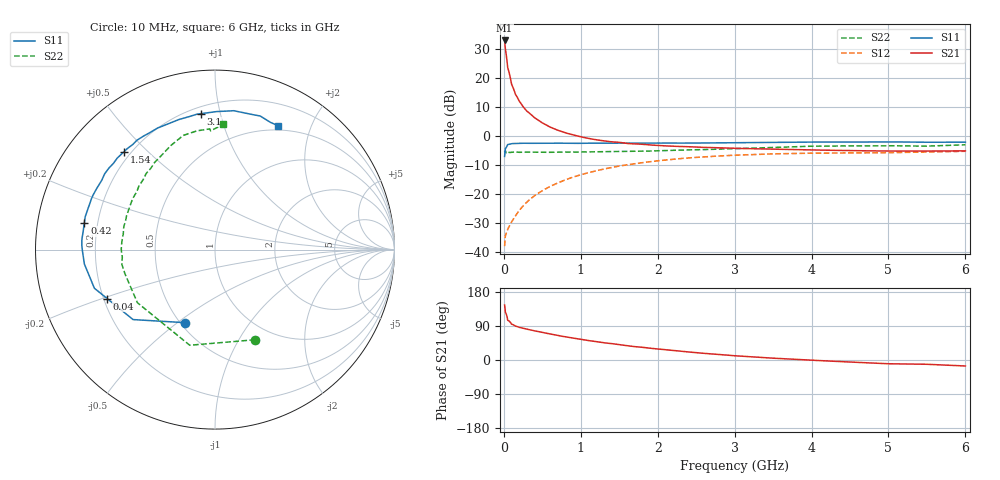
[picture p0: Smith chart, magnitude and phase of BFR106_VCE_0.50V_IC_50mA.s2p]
! Infineon Technologies  Discrete & RF Semiconductors
! BFR106
! VCE = 0.50 V,  IC =  50 mA
! Common Emitter S-Parameters:  Nov 2015
# GHz  S  MA  R  50
!  f  S11  S21  S12  S22
! GHz  MAG  ANG  MAG  ANG  MAG  ANG  MAG  ANG
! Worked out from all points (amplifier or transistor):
!   210 points, 10 MHz to 6 GHz, reference 50 ohm
!   highest |S21| = 32.9 dB at 10 MHz (marker M1)
!   |S21| within 3 dB of that: start of sweep to 20.33 MHz
!   unconditionally stable (mu >= 1): 99.64 MHz to end of sweep
!   at 185 MHz: K = 1.20, MAG = 16.9 dB, |S12| = -26.4 dB
!   at 1.52 GHz: K = 1.19, MAG = 1.4 dB, |S12| = -10.4 dB
!   at 6 GHz: K = 1.03, MAG = -1.1 dB, |S12| = -5.4 dB
!   S11 on the Smith chart (normalised r, x): 10 MHz: 0.53, -0.53; 40 MHz: 0.21, -0.21; 420 MHz: 0.15, +0.10; 1.54 GHz: 0.17, +0.43; 3.1 GHz: 0.24, +0.87; 6 GHz: 0.45, +1.54
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0.01  0.44 -112.3  44.27 145.0  0.0124 59.0  0.5498 -66.0
0.02  0.6003 -139.5  31.54 125.9  0.0186 46.3  0.5512 -104.8
0.04  0.6595 -155.5  20.23 115.7  0.0223 44.1  0.5028 -131.8
0.05  0.7056 -162.2  15.08 105.1  0.0241 43.2  0.5238 -145.6
0.1  0.7322 -173.7  7.811 94.7  0.0325 50.4  0.5194 -164.4
0.15  0.7379 -178.7  5.247 89.7  0.0411 57.2  0.5254 -171.1
0.2  0.7426 178.1  3.974 86.2  0.0512 61.4  0.5182 -175.3
0.24  0.7435 176.1  3.329 84.1  0.0591 63.3  0.5204 -177.9
0.26  0.7434 175.2  3.067 83.0  0.0632 64.0  0.5213 -178.9
0.3  0.7416 173.4  2.66 81.2  0.0717 65.0  0.5223 179.6
0.4  0.7427 169.1  2.044 76.8  0.0922 66.4  0.5212 176.0
0.42  0.7432 168.4  1.968 76.1  0.0962 66.3  0.5208 175.4
0.5  0.746 165.8  1.668 72.8  0.1124 66.1  0.52 172.9
0.66  0.744 159.9  1.313 66.3  0.145 64.7  0.5203 169.0
0.8  0.7442 155.9  1.124 61.2  0.1734 62.5  0.5239 165.5
1.02  0.7407 148.0  0.948 54.0  0.2159 58.7  0.525 160.7
1.54  0.7448 132.8  0.757 39.5  0.3058 48.4  0.537 149.6
2.02  0.7459 119.8  0.679 28.6  0.3718 38.8  0.5526 139.8
3.1  0.7613 96.0  0.603 10.0  0.4663 19.3  0.6043 119.4
4.1  0.7798 81.1  0.566 -1.5  0.5017 5.2  0.6612 104.2
5.1  0.7828 70.3  0.544 -10.2  0.5136 -5.0  0.6711 92.4
6  0.7749 62.9  0.549 -15.8  0.5395 -12.8  0.6991 86.2
